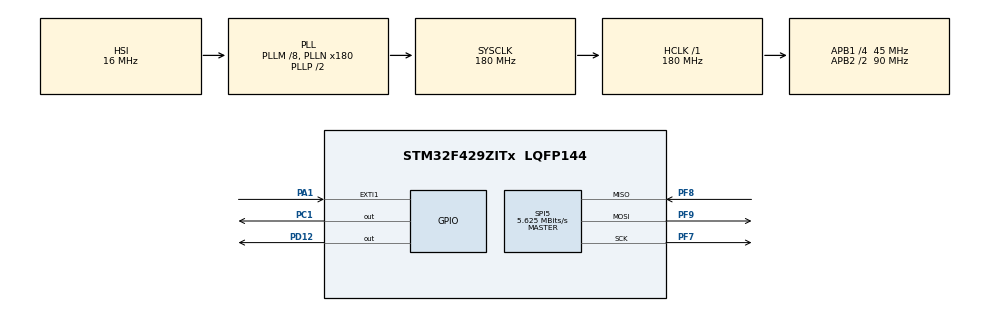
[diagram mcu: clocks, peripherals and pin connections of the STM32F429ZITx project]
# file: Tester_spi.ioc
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Mcu.Family=STM32F4
Mcu.Name=STM32F429ZITx
Mcu.Package=LQFP144
NVIC.EXTI1_IRQn=true\:0\:0\:false\:false\:true\:true\:true
NVIC.PriorityGroup=NVIC_PRIORITYGROUP_4
PA1.Signal=GPXTI1
PC1.PinState=GPIO_PIN_SET
PC1.Signal=GPIO_Output
PD12.Signal=GPIO_Output
PF7.Mode=Full_Duplex_Master
PF7.Signal=SPI5_SCK
PF8.Mode=Full_Duplex_Master
PF8.Signal=SPI5_MISO
PF9.Mode=Full_Duplex_Master
PF9.Signal=SPI5_MOSI
ProjectManager.HeapSize=0x200
ProjectManager.StackSize=0x400
ProjectManager.TargetToolchain=TrueSTUDIO
RCC.48MHZClocksFreq_Value=90000000
RCC.AHBFreq_Value=180000000
RCC.APB1CLKDivider=RCC_HCLK_DIV4
RCC.APB1Freq_Value=45000000
RCC.APB1TimFreq_Value=90000000
RCC.APB2CLKDivider=RCC_HCLK_DIV2
RCC.APB2Freq_Value=90000000
RCC.APB2TimFreq_Value=180000000
RCC.CortexFreq_Value=180000000
RCC.HCLKFreq_Value=180000000
RCC.HSE_VALUE=25000000
RCC.HSI_VALUE=16000000
RCC.LSE_VALUE=32768
RCC.PLLM=8
RCC.PLLN=180
RCC.SYSCLKFreq_VALUE=180000000
RCC.SYSCLKSource=RCC_SYSCLKSOURCE_PLLCLK
RCC.VCOOutputFreq_Value=360000000
SPI5.BaudRatePrescaler=SPI_BAUDRATEPRESCALER_16
SPI5.CalculateBaudRate=5.625 MBits/s
SPI5.Direction=SPI_DIRECTION_2LINES
SPI5.Mode=SPI_MODE_MASTER
SPI5.VirtualType=VM_MASTER
board=custom

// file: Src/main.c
/* USER CODE BEGIN Header */
/**
  ******************************************************************************
  * @file           : main.c
  * @brief          : Main program body
  ******************************************************************************
  * @attention
  *
  * <h2><center>&copy; Copyright (c) 2020 STMicroelectronics.
  * All rights reserved.</center></h2>
  *
  * This software component is licensed by ST under BSD 3-Clause license,
  * the "License"; You may not use this file except in compliance with the
  * License. You may obtain a copy of the License at:
  *                        opensource.org/licenses/BSD-3-Clause
  *
  ******************************************************************************
  */
/* USER CODE END Header */

#include "main.h"

SPI_HandleTypeDef hspi5;

void SystemClock_Config(void);
static void MX_GPIO_Init(void);
static void MX_SPI5_Init(void);

	uint8_t  spiTxBuf[2], spiRxBuf[2];
int main(void)
{

  /* MCU Configuration--------------------------------------------------------*/

  /* Reset of all peripherals, Initializes the Flash interface and the Systick. */
  HAL_Init();

  /* Configure the system clock */
  SystemClock_Config();

  /* Initialize all configured peripherals */
  MX_GPIO_Init();
  MX_SPI5_Init();
  /* USER CODE BEGIN 2 */
  //enable slave by PC1 pin
  HAL_GPIO_WritePin(GPIOC,GPIO_PIN_1,GPIO_PIN_RESET);
  spiTxBuf[0]=0x20;
  spiTxBuf[1]=0xff;
  HAL_SPI_Transmit(&hspi5,spiTxBuf,2,50);
  //diable slave
  HAL_GPIO_WritePin(GPIOC,GPIO_PIN_1,GPIO_PIN_SET);
  //enable slave
  HAL_GPIO_WritePin(GPIOC,GPIO_PIN_1,GPIO_PIN_RESET);
  spiTxBuf[0]=0x21;
    spiTxBuf[1]=0x00;
    HAL_SPI_Transmit(&hspi5,spiTxBuf,2,50);
    //diable slave
    HAL_GPIO_WritePin(GPIOC,GPIO_PIN_1,GPIO_PIN_SET);
    //enable slave
    HAL_GPIO_WritePin(GPIOC,GPIO_PIN_1,GPIO_PIN_RESET);

    spiTxBuf[0]=0x22;
      spiTxBuf[1]=0x00;
      HAL_SPI_Transmit(&hspi5,spiTxBuf,2,50);
      //diable slave
      HAL_GPIO_WritePin(GPIOC,GPIO_PIN_1,GPIO_PIN_SET);
      //enable slave
      HAL_GPIO_WritePin(GPIOC,GPIO_PIN_1,GPIO_PIN_RESET);

      spiTxBuf[0]=0x23;
        spiTxBuf[1]=0x20;
        HAL_SPI_Transmit(&hspi5,spiTxBuf,2,50);
        //diable slave
        HAL_GPIO_WritePin(GPIOC,GPIO_PIN_1,GPIO_PIN_SET);
        //enable slave
        HAL_GPIO_WritePin(GPIOC,GPIO_PIN_1,GPIO_PIN_RESET);

        spiTxBuf[0]=0x24;
          spiTxBuf[1]=0x10;
	  HAL_SPI_Transmit(&hspi5,spiTxBuf,2,50);
	  //diable slave
	  HAL_GPIO_WritePin(GPIOC,GPIO_PIN_1,GPIO_PIN_SET);
	  //enable slave
	  HAL_GPIO_WritePin(GPIOC,GPIO_PIN_1,GPIO_PIN_RESET);

  //for read we are addation the 0x80
  spiTxBuf[0]=0x20|0x80;
  HAL_SPI_Transmit(&hspi5,spiTxBuf,1,50);

  HAL_SPI_Receive(&hspi5,spiRxBuf,1,50);

  //disable slave
  HAL_GPIO_WritePin(GPIOC,GPIO_PIN_1,GPIO_PIN_SET);

  /* USER CODE END 2 */

  /* Infinite loop */
  /* USER CODE BEGIN WHILE */
  while (1)
  {
	  HAL_GPIO_WritePin(GPIOC,GPIO_PIN_1,GPIO_PIN_RESET);
	  spiTxBuf[0]=0x29|0x80;
	  HAL_SPI_Transmit(&hspi5,spiTxBuf,1,50);
	  HAL_SPI_Receive(&hspi5,spiRxBuf,1,50);
	  HAL_GPIO_WritePin(GPIOC,GPIO_PIN_1,GPIO_PIN_SET);

	  HAL_Delay(200);

    /* USER CODE END WHILE */

  }
}

void SystemClock_Config(void)
{
  RCC_OscInitTypeDef RCC_OscInitStruct = {0};
  RCC_ClkInitTypeDef RCC_ClkInitStruct = {0};

  /** Configure the main internal regulator output voltage
  */
  __HAL_RCC_PWR_CLK_ENABLE();
  __HAL_PWR_VOLTAGESCALING_CONFIG(PWR_REGULATOR_VOLTAGE_SCALE1);
  /** Initializes the CPU, AHB and APB busses clocks
  */
  RCC_OscInitStruct.OscillatorType = RCC_OSCILLATORTYPE_HSI;
  RCC_OscInitStruct.HSIState = RCC_HSI_ON;
  RCC_OscInitStruct.HSICalibrationValue = RCC_HSICALIBRATION_DEFAULT;
  RCC_OscInitStruct.PLL.PLLState = RCC_PLL_ON;
  RCC_OscInitStruct.PLL.PLLSource = RCC_PLLSOURCE_HSI;
  RCC_OscInitStruct.PLL.PLLM = 8;
  RCC_OscInitStruct.PLL.PLLN = 180;
  RCC_OscInitStruct.PLL.PLLP = RCC_PLLP_DIV2;
  RCC_OscInitStruct.PLL.PLLQ = 4;
  if (HAL_RCC_OscConfig(&RCC_OscInitStruct) != HAL_OK)
  {
    Error_Handler();
  }
  /** Activate the Over-Drive mode
  */
  if (HAL_PWREx_EnableOverDrive() != HAL_OK)
  {
    Error_Handler();
  }
  /** Initializes the CPU, AHB and APB busses clocks
  */
  RCC_ClkInitStruct.ClockType = RCC_CLOCKTYPE_HCLK|RCC_CLOCKTYPE_SYSCLK
                              |RCC_CLOCKTYPE_PCLK1|RCC_CLOCKTYPE_PCLK2;
  RCC_ClkInitStruct.SYSCLKSource = RCC_SYSCLKSOURCE_PLLCLK;
  RCC_ClkInitStruct.AHBCLKDivider = RCC_SYSCLK_DIV1;
  RCC_ClkInitStruct.APB1CLKDivider = RCC_HCLK_DIV4;
  RCC_ClkInitStruct.APB2CLKDivider = RCC_HCLK_DIV2;

  if (HAL_RCC_ClockConfig(&RCC_ClkInitStruct, FLASH_LATENCY_5) != HAL_OK)
  {
    Error_Handler();
  }
}

static void MX_SPI5_Init(void)
{

  /* SPI5 parameter configuration*/
  hspi5.Instance = SPI5;
  hspi5.Init.Mode = SPI_MODE_MASTER;
  hspi5.Init.Direction = SPI_DIRECTION_2LINES;
  hspi5.Init.DataSize = SPI_DATASIZE_8BIT;
  hspi5.Init.CLKPolarity = SPI_POLARITY_LOW;
  hspi5.Init.CLKPhase = SPI_PHASE_1EDGE;
  hspi5.Init.NSS = SPI_NSS_SOFT;
  hspi5.Init.BaudRatePrescaler = SPI_BAUDRATEPRESCALER_16;
  hspi5.Init.FirstBit = SPI_FIRSTBIT_MSB;
  hspi5.Init.TIMode = SPI_TIMODE_DISABLE;
  hspi5.Init.CRCCalculation = SPI_CRCCALCULATION_DISABLE;
  hspi5.Init.CRCPolynomial = 10;
  if (HAL_SPI_Init(&hspi5) != HAL_OK)
  {
    Error_Handler();
  }

}

static void MX_GPIO_Init(void)
{
  GPIO_InitTypeDef GPIO_InitStruct = {0};

  /* GPIO Ports Clock Enable */
  __HAL_RCC_GPIOF_CLK_ENABLE();
  __HAL_RCC_GPIOC_CLK_ENABLE();
  __HAL_RCC_GPIOA_CLK_ENABLE();
  __HAL_RCC_GPIOD_CLK_ENABLE();

  /*Configure GPIO pin Output Level */
  HAL_GPIO_WritePin(GPIOC, GPIO_PIN_1, GPIO_PIN_SET);

  /*Configure GPIO pin Output Level */
  HAL_GPIO_WritePin(GPIOD, GPIO_PIN_12, GPIO_PIN_RESET);

  /*Configure GPIO pin : PC1 */
  GPIO_InitStruct.Pin = GPIO_PIN_1;
  GPIO_InitStruct.Mode = GPIO_MODE_OUTPUT_PP;
  GPIO_InitStruct.Pull = GPIO_NOPULL;
  GPIO_InitStruct.Speed = GPIO_SPEED_FREQ_LOW;
  HAL_GPIO_Init(GPIOC, &GPIO_InitStruct);

  /*Configure GPIO pin : PA1 */
  GPIO_InitStruct.Pin = GPIO_PIN_1;
  GPIO_InitStruct.Mode = GPIO_MODE_IT_RISING;
  GPIO_InitStruct.Pull = GPIO_NOPULL;
  HAL_GPIO_Init(GPIOA, &GPIO_InitStruct);

  /*Configure GPIO pin : PD12 */
  GPIO_InitStruct.Pin = GPIO_PIN_12;
  GPIO_InitStruct.Mode = GPIO_MODE_OUTPUT_PP;
  GPIO_InitStruct.Pull = GPIO_NOPULL;
  GPIO_InitStruct.Speed = GPIO_SPEED_FREQ_LOW;
  HAL_GPIO_Init(GPIOD, &GPIO_InitStruct);

  /* EXTI interrupt init*/
  HAL_NVIC_SetPriority(EXTI1_IRQn, 0, 0);
  HAL_NVIC_EnableIRQ(EXTI1_IRQn);

}

void Error_Handler(void)
{
}

/************************ (C) COPYRIGHT STMicroelectronics *****END OF FILE****/
